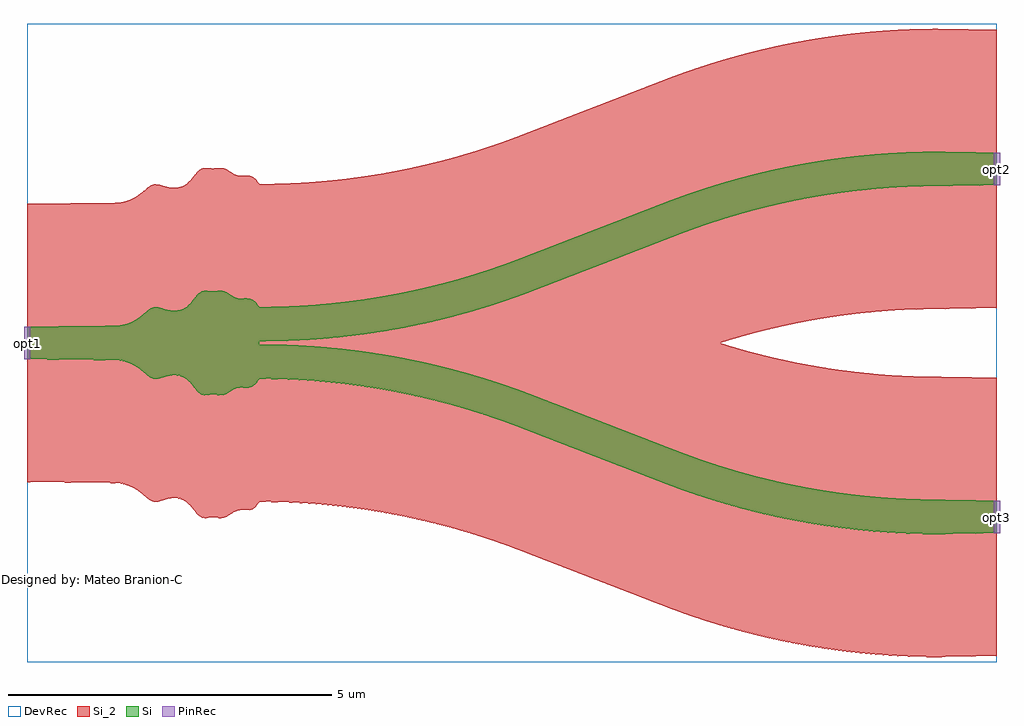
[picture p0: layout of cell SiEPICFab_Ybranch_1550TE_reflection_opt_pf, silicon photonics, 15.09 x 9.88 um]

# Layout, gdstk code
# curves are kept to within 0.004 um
import gdstk
lib = gdstk.Library(unit=1e-6, precision=1e-09)
def R(c, l, rs):  # rectangles x0, y0, x1, y1
    for r in rs: c.add(gdstk.rectangle(r[:2], r[2:], *l))
def P(c, l, *ps):  # polygons
    for p in ps: c.add(gdstk.Polygon(p, *l))
Si = (1, 0)
Si_2 = (1, 2)
PinRec = (1, 10)
DevRec = (68, 0)

siepicfab_ybranch_1550te = lib.new_cell('SiEPICFab_Ybranch_1550TE_reflection_opt_pf')
P(siepicfab_ybranch_1550te, Si, [(6.148,0.695),(6.148,1.26),(8.467,2.155),(8.466,1.584),(6.455,0.806)],
  [(8.465,-2.154),(6.148,-1.261),(6.148,-0.694),(6.455,-0.806),(8.466,-1.584)],
  [(8.467,1.585),(8.468,2.156),(8.728,2.254),(9.105,2.383),(9.711,2.562),(10.182,2.677),(10.656,2.772),(11.138,2.848),(11.633,2.905),(12.092,2.939),(12.547,2.955),(13.633,2.94),(13.633,2.44),(12.497,2.422),(12.072,2.405),(11.532,2.36),(10.951,2.282),(10.637,2.227),(10.33,2.164),(10.059,2.101),(9.683,2.003),(9.1,1.821),(8.882,1.744)],
  [(12.64,-2.956),(12.153,-2.943),(11.735,-2.915),(11.244,-2.862),(10.778,-2.794),(10.37,-2.717),(10.038,-2.645),(9.542,-2.516),(9.105,-2.383),(8.779,-2.273),(8.468,-2.156),(8.467,-1.585),(9.068,-1.81),(9.321,-1.894),(9.669,-1.999),(9.88,-2.057),(10.278,-2.153),(10.826,-2.262),(11.067,-2.301),(11.417,-2.347),(11.804,-2.387),(12.023,-2.403),(12.507,-2.423),(13.633,-2.44),(13.633,-2.94)],
  [(6.148,-1.261),(5.866,-1.158),(5.464,-1.029),(5.058,-0.915),(4.699,-0.829),(4.355,-0.757),(4.009,-0.696),(3.615,-0.64),(3.242,-0.6),(2.741,-0.566),(2.231,-0.555),(2.176,-0.632),(2.113,-0.675),(2.068,-0.688),(1.893,-0.689),(1.836,-0.71),(1.728,-0.781),(1.671,-0.805),(1.61,-0.808),(1.497,-0.798),(1.388,-0.808),(1.334,-0.795),(1.289,-0.76),(1.168,-0.615),(1.107,-0.556),(1.052,-0.523),(0.994,-0.505),(0.883,-0.498),(0.785,-0.515),(0.662,-0.553),(0.602,-0.553),(0.547,-0.531),(0.384,-0.398),(0.324,-0.357),(0.214,-0.303),(0.103,-0.273),(0.006,-0.265),(-1.357,-0.25),(-1.357,0.25),(0.006,0.264),(0.122,0.277),(0.211,0.301),(0.32,0.354),(0.384,0.397),(0.494,0.492),(0.547,0.53),(0.604,0.553),(0.666,0.551),(0.798,0.511),(0.882,0.498),(0.986,0.503),(1.043,0.519),(1.109,0.556),(1.168,0.615),(1.28,0.752),(1.331,0.792),(1.384,0.806),(1.486,0.798),(1.601,0.806),(1.671,0.804),(1.728,0.78),(1.838,0.708),(1.89,0.689),(1.944,0.684),(2.064,0.688),(2.117,0.673),(2.176,0.631),(2.231,0.556),(2.551,0.559),(2.91,0.575),(3.231,0.599),(3.65,0.644),(4.034,0.7),(4.334,0.753),(4.681,0.825),(5.038,0.91),(5.332,0.99),(5.629,1.08),(5.895,1.168),(6.148,1.26),(6.148,0.695),(5.837,0.588),(5.421,0.463),(4.988,0.349),(4.486,0.24),(4.079,0.168),(3.643,0.107),(3.159,0.059),(2.652,0.03),(2.231,0.022),(2.232,-0.023),(2.681,-0.031),(3.208,-0.063),(3.722,-0.117),(4.225,-0.192),(4.601,-0.263),(4.988,-0.349),(5.516,-0.49),(5.925,-0.617),(6.148,-0.694)])
P(siepicfab_ybranch_1550te, Si_2, [(12.64,-4.856),(12.153,-4.843),(11.89,-4.827),(11.521,-4.795),(11.153,-4.75),(10.778,-4.694),(10.37,-4.617),(10.038,-4.545),(9.671,-4.452),(9.215,-4.318),(8.779,-4.173),(6.283,-3.21),(5.866,-3.058),(5.484,-2.935),(5.1,-2.826),(4.699,-2.729),(4.355,-2.657),(3.761,-2.559),(3.242,-2.5),(2.741,-2.466),(2.231,-2.455),(2.176,-2.532),(2.113,-2.575),(2.068,-2.588),(1.893,-2.589),(1.836,-2.61),(1.728,-2.681),(1.671,-2.705),(1.61,-2.708),(1.497,-2.698),(1.388,-2.708),(1.334,-2.695),(1.289,-2.66),(1.168,-2.515),(1.107,-2.456),(1.052,-2.423),(0.994,-2.405),(0.883,-2.398),(0.785,-2.415),(0.662,-2.453),(0.602,-2.453),(0.547,-2.431),(0.384,-2.298),(0.324,-2.257),(0.214,-2.203),(0.103,-2.173),(0.006,-2.165),(-1.357,-2.15),(-1.357,0),(9.346,0),(9.6,-0.079),(9.88,-0.157),(10.278,-0.253),(10.826,-0.362),(11.351,-0.439),(11.804,-0.487),(12.253,-0.515),(13.633,-0.54),(13.633,-4.84)],
  [(-1.357,0),(-1.357,2.15),(0.006,2.164),(0.122,2.177),(0.211,2.201),(0.32,2.254),(0.384,2.297),(0.494,2.392),(0.547,2.43),(0.604,2.453),(0.666,2.451),(0.798,2.411),(0.882,2.398),(0.986,2.403),(1.043,2.419),(1.109,2.456),(1.168,2.515),(1.28,2.652),(1.331,2.692),(1.384,2.706),(1.486,2.698),(1.601,2.706),(1.671,2.704),(1.728,2.68),(1.838,2.608),(1.89,2.589),(1.944,2.584),(2.064,2.588),(2.117,2.573),(2.176,2.531),(2.231,2.456),(2.763,2.467),(3.231,2.499),(3.65,2.544),(4.22,2.632),(4.645,2.717),(5.038,2.81),(5.332,2.89),(5.704,3.004),(6.133,3.153),(8.728,4.154),(9.038,4.261),(9.352,4.36),(9.696,4.458),(10.037,4.544),(10.485,4.64),(10.88,4.71),(11.341,4.774),(11.794,4.819),(12.17,4.843),(12.547,4.855),(13.633,4.84),(13.633,0.54),(12.225,0.513),(11.803,0.486),(11.351,0.439),(10.831,0.362),(10.33,0.264),(9.836,0.145),(9.343,0)])
R(siepicfab_ybranch_1550te, DevRec, [(-1.357,-4.939,13.633,4.94)])
siepicfab_ybranch_1550te.add(gdstk.FlexPath([(13.583,-2.69),(13.683,-2.69)], 0.5, ends="flush", simple_path=True, layer=1, datatype=10))  # PinRec
siepicfab_ybranch_1550te.add(gdstk.FlexPath([(-1.307,0),(-1.407,0)], 0.5, ends="flush", simple_path=True, layer=1, datatype=10))  # PinRec
siepicfab_ybranch_1550te.add(gdstk.FlexPath([(13.583,2.69),(13.683,2.69)], 0.5, ends="flush", simple_path=True, layer=1, datatype=10))  # PinRec
siepicfab_ybranch_1550te.add(gdstk.Label('opt1', (-1.357,0), layer=1, texttype=10))
siepicfab_ybranch_1550te.add(gdstk.Label('opt2', (13.633,2.69), layer=1, texttype=10))
siepicfab_ybranch_1550te.add(gdstk.Label('opt3', (13.633,-2.69), layer=1, texttype=10))
siepicfab_ybranch_1550te.add(gdstk.Label('Designed by: Mateo Branion-Calles', (-0.48,-3.66), layer=10, texttype=0))

lib.write_gds('SiEPICFab_Ybranch_1550TE_reflection_opt_pf.gds')
